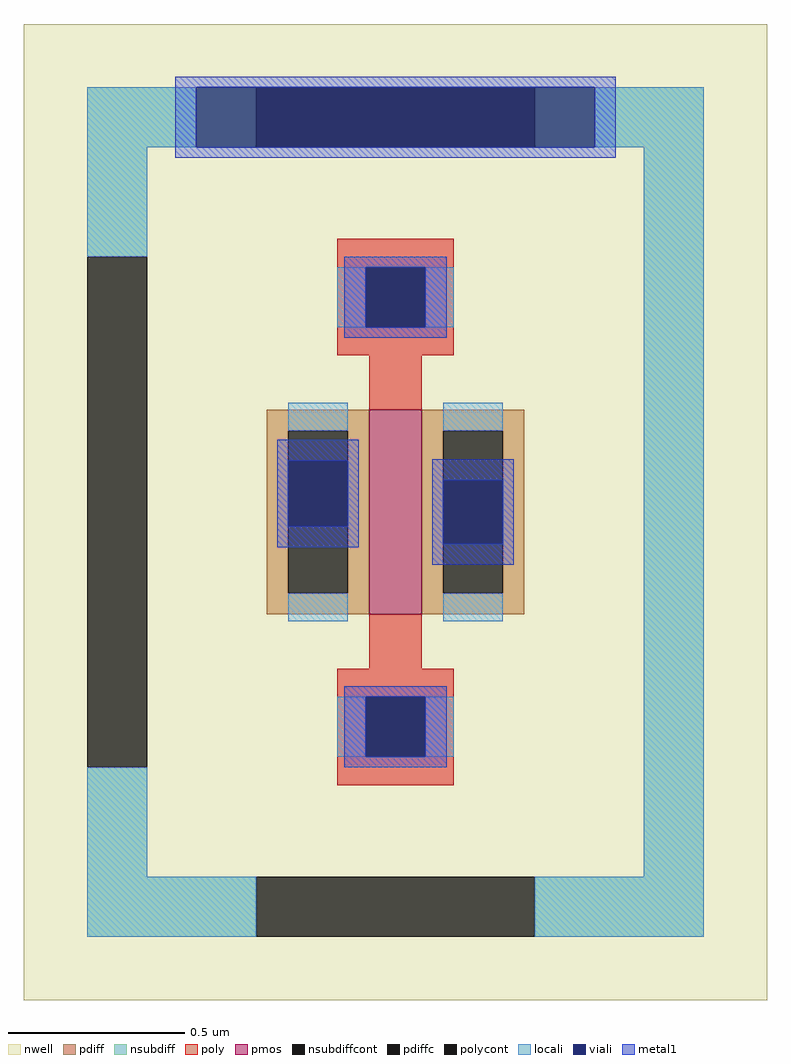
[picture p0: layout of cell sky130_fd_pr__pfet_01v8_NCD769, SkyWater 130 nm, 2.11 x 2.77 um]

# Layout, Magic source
magic
tech sky130A
magscale 1 2
<< nwell >>
rect -211 -277 211 277
<< pmos >>
rect -15 -58 15 58
<< pdiff >>
rect -73 46 -15 58
rect -73 -46 -61 46
rect -27 -46 -15 46
rect -73 -58 -15 -46
rect 15 46 73 58
rect 15 -46 27 46
rect 61 -46 73 46
rect 15 -58 73 -46
<< pdiffc >>
rect -61 -46 -27 46
rect 27 -46 61 46
<< nsubdiff >>
rect -175 207 -79 241
rect 79 207 175 241
rect -175 145 -141 207
rect -175 -207 -141 -145
rect 141 -207 175 207
rect -175 -241 -79 -207
rect 79 -241 175 -207
<< nsubdiffcont >>
rect -79 207 79 241
rect -175 -145 -141 145
rect -79 -241 79 -207
<< poly >>
rect -33 139 33 155
rect -33 105 -17 139
rect 17 105 33 139
rect -33 89 33 105
rect -15 58 15 89
rect -15 -89 15 -58
rect -33 -105 33 -89
rect -33 -139 -17 -105
rect 17 -139 33 -105
rect -33 -155 33 -139
<< polycont >>
rect -17 105 17 139
rect -17 -139 17 -105
<< locali >>
rect -175 207 -113 241
rect 113 207 175 241
rect -175 145 -141 207
rect -33 105 -17 139
rect 17 105 33 139
rect -61 46 -27 62
rect -61 -62 -27 -46
rect 27 46 61 62
rect 27 -62 61 -46
rect -33 -139 -17 -105
rect 17 -139 33 -105
rect -175 -207 -141 -145
rect 141 -207 175 207
rect -175 -241 -79 -207
rect 79 -241 175 -207
<< viali >>
rect -113 207 -79 241
rect -79 207 79 241
rect 79 207 113 241
rect -17 105 17 139
rect -61 -8 -27 29
rect 27 -18 61 18
rect -17 -139 17 -105
<< metal1 >>
rect -125 241 125 247
rect -125 207 -113 241
rect 113 207 125 241
rect -125 201 125 207
rect -29 139 29 145
rect -29 105 -17 139
rect 17 105 29 139
rect -29 99 29 105
rect -67 29 -21 41
rect -67 -8 -61 29
rect -27 -8 -21 29
rect -67 -20 -21 -8
rect 21 18 67 30
rect 21 -18 27 18
rect 61 -18 67 18
rect 21 -30 67 -18
rect -29 -105 29 -99
rect -29 -139 -17 -105
rect 17 -139 29 -105
rect -29 -145 29 -139
<< properties >>
string gencell sky130_fd_pr__pfet_01v8
string FIXED_BBOX -158 -224 158 224
string parameters w 0.58 l 0.15 m 1 nf 1 diffcov 100 polycov 100 guard 1 glc 1 grc 0 gtc 1 gbc 1 tbcov 100 rlcov 100 topc 1 botc 1 poverlap 0 doverlap 1 lmin 0.15 wmin 0.42 compatible {sky130_fd_pr__pfet_01v8  sky130_fd_pr__pfet_01v8_lvt sky130_fd_pr__pfet_01v8_hvt  sky130_fd_pr__pfet_g5v0d10v5} full_metal 1 viasrc 40 viadrn -40 viagate 100 viagb 0 viagr 0 viagl 0 viagt 80
string library sky130
<< end >>
